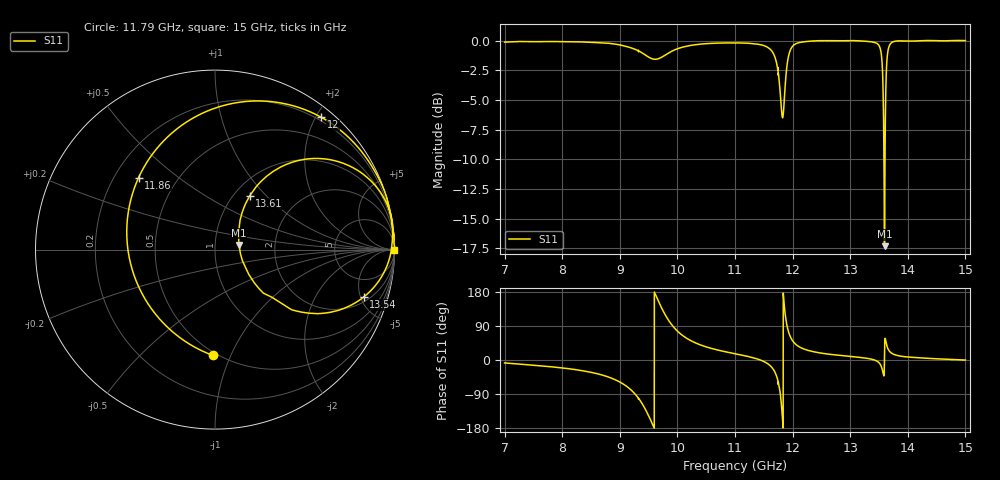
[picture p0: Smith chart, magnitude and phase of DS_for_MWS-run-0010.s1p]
! TOUCHSTONE file generated by CST DESIGN STUDIO
! Date and time: Mon Feb 10 16:43:02 2025
! Project name: C:\Work\MatlabApps\UnitCellType2OptimizationMatlab\CST\unitcell.cst
! Tree item: Tasks\Sweep1\SPara1\S-Parameters
! Header version: 2024
! Port assignment regex: !\s*Touchstone port\s*([0-9]+)\s*=\s*(CST MWS port|CST DES external port|CST DES block port)\s*(.+)\s* \(\"(.*)\"\)(\s*mode\s*([0-9]+))?.*
! Touchstone port assignment:
! Touchstone port 1 = CST DES external port 1 ("")
# GHz S MA R 50
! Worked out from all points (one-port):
!   4001 points, 7 GHz to 15 GHz, reference 50 ohm
!   lowest |S11| = -17.3 dB at 13.6 GHz (marker M1), VSWR 1.31, Z = 65.3 + j3.51 ohm
!   |S11| at or under -10 dB: 13.58664 GHz to 13.60454 GHz (17.9 MHz wide, 0.132 % of centre)
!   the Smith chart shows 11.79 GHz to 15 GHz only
!   S11 on the Smith chart (normalised r, x): 11.79 GHz: 0.48, -0.86; 11.86 GHz: 0.30, +0.37; 12 GHz: 0.15, +2.08; 13.54 GHz: 2.46, -5.33; 13.61 GHz: 1.18, +0.81; 15 GHz: open
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7  0.9851 -7.7
8  0.9888 -20.9
8.634  0.9792 -37.2
9  0.9587 -58.1
9.352  0.8978 -106.8
9.586  0.8353 -175.8
9.786  0.8686 119.9
10  0.9236 76.3
10.368  0.9645 41.7
11  0.9778 16.5
11.616  0.9174 -15.8
11.706  0.833 -36.3
11.788  0.5898 -91.1
11.828  0.4731 -162.0
11.86  0.5849 136.7
11.914  0.8217 82.9
11.998  0.9454 51.2
12  0.9467 50.8
12.254  0.9919 26.0
13  0.9998 9.6
13.456  0.9759 -2.3
13.542  0.8697 -17.7
13.596  0.136 11.2
13.606  0.3572 57.2
13.644  0.8611 34.0
13.706  0.9739 19.4
14  0.9954 7.9
15  0.9997 -0.1
